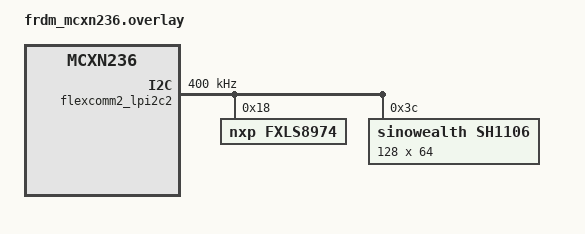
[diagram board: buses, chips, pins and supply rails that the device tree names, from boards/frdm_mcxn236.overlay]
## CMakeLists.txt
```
cmake_minimum_required(VERSION 3.20.0)

# Pull in the Zephyr build system
find_package(Zephyr REQUIRED HINTS $ENV{ZEPHYR_BASE})

project(oled_crosshair_accel)

# Export compile commands for clangd (Neovim)
set(CMAKE_EXPORT_COMPILE_COMMANDS ON)

target_sources(app PRIVATE src/main.c src/display_hal.c)
```

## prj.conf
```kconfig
# printk() enable for console output
# CONFIG_PRINTK=y

# Enable Logging 
CONFIG_LOG=y
CONFIG_LOG_DEFAULT_LEVEL=3

# Enable GPIOS
# CONFIG_GPIO=y

# Stack size
CONFIG_MAIN_STACK_SIZE=4096

# I2C and Display stuff 
CONFIG_I2C=y
CONFIG_DISPLAY=y
CONFIG_SSD1306=y
CONFIG_CHARACTER_FRAMEBUFFER=y
CONFIG_HEAP_MEM_POOL_SIZE=16384

# Sensor and IMU stuff
CONFIG_SENSOR=y
CONFIG_FXLS8974=y
CONFIG_CBPRINTF_FP_SUPPORT=y
```

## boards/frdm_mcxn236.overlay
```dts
/ {
    aliases {
        accel0 = &fxls8974;
    };
};

&flexcomm2_lpi2c2 {
  status = "okay";

  clock-frequency = <I2C_BITRATE_FAST>;

  fxls8974: fxls8974@18 {
    compatible = "nxp,fxls8974";
    reg = <0x18>;
    status = "okay";
  };

  sh1106: sh1106@3c {
    compatible = "sinowealth,sh1106";
    reg = <0x3c>;
    width = <128>;
    height = <64>;
    segment-offset = <2>;
    display-offset = <0>;
    page-offset = <0>;
    multiplex-ratio = <63>;
    segment-remap;
    com-invdir;
    prechargep = <0x22>;
  };
};
```

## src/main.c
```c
#include <zephyr/kernel.h>
#include <zephyr/device.h>
#include <zephyr/drivers/sensor.h>
#include <zephyr/logging/log.h>
#include "display_hal.h"

LOG_MODULE_REGISTER(display_main, LOG_LEVEL_INF);

int main(void)
{
  LOG_INF("Starting IMU bubble Level");

  if (display_hal_init() != 0) {
    LOG_ERR("Display init failed");
    return -1;
  }

  const struct device *const accel_dev = DEVICE_DT_GET(DT_ALIAS(accel0));

  if (!device_is_ready(accel_dev)) {
    LOG_ERR("Device is not ready");
    return -1;
  }

  while (1) {
    struct sensor_value accel[3];

    if (sensor_sample_fetch(accel_dev) < 0) {
      LOG_ERR("Failed to fetch IMU data");
      k_msleep(1000);
      continue;
    }

    sensor_channel_get(accel_dev, SENSOR_CHAN_ACCEL_XYZ, accel);

    double ax = sensor_value_to_double(&accel[0]);
    double ay = sensor_value_to_double(&accel[1]);

    /*
     * MAPPING MATH
     * Screen is 128x64. Center is (64, 32)
     * Max tilt is -9.8 m/s^2
     * X-Axis: 64 pixels from center to edge. (64 / 9.8 = ~6.5 multiplier)
     * Y-Axis: 32 pixels from center to edge. (32 / 9.8 = ~3.2 multiplier)
     * We invert the math (-) so the bubble moves "up"
    */  
    int bubble_x = 64 - (int)(ax * 6.5);
    int bubble_y = 32 + (int)(ay * 3.2);

    display_hal_clear();
    display_hal_draw_background();
    display_hal_draw_bubble(bubble_x, bubble_y);
    display_hal_finalize();

    k_msleep(50);
  }

  return 0;
}
```

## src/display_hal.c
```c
#include "display_hal.h"
#include <zephyr/device.h>
#include <zephyr/drivers/display.h>
#include <zephyr/display/cfb.h>
#include <zephyr/logging/log.h>

LOG_MODULE_REGISTER(display_hal, LOG_LEVEL_INF);

static const struct device *display_dev = DEVICE_DT_GET(DT_NODELABEL(sh1106));

int display_hal_init(void) {
  if (!device_is_ready(display_dev)) {
    LOG_ERR("Display is not ready");
    return -ENODEV;
  }

  if (display_set_pixel_format(display_dev, PIXEL_FORMAT_MONO10) != 0) {
    if (display_set_pixel_format(display_dev, PIXEL_FORMAT_MONO01) != 0) {
      LOG_ERR("Failed to set required pixel format");
      return -ENOTSUP;
    }
  }

  if (cfb_framebuffer_init(display_dev)) {
    LOG_ERR("Frame buffer initialization failed");
    return -EIO;
  }

  display_hal_clear();
  display_blanking_off(display_dev);

  /* Set a default fallback font upon initialization */
  cfb_framebuffer_set_font(display_dev, 0);

  return 0;
}


void display_hal_clear() {
  if (display_dev != NULL) {
    cfb_framebuffer_clear(display_dev, false);
  }
}

void display_hal_finalize() {
  if (display_dev != NULL) {
    cfb_framebuffer_finalize(display_dev);
  }
}

void display_hal_draw_background(void) {
  if (display_dev == NULL) return;

  /* A thin vertical and horizontal line making a center cross */
  struct cfb_position v_start = {64, 28}, v_end = {64, 38};
  struct cfb_position h_start = {60, 32}, h_end = {68, 32};

  cfb_draw_line(display_dev, &v_start, &v_end);
  cfb_draw_line(display_dev, &h_start, &h_end);
}

/* Draws a rectangle which acts as a bubble */
void display_hal_draw_bubble(int x, int y) {
  if (display_dev == NULL) return;

  /* Prevent the box from drawing off the edge of the screen and crashing it */
  if (x < 2) x = 2;
  if (x > 125) x = 125;
  if (y < 2) y = 2;
  if (y > 61) x = 61;

  /* Top-Left and Bottom-right corners of the rectangle */
  struct cfb_position top_left = {x - 2, y - 2};
  struct cfb_position bottom_right = {x + 2, y + 2};

  cfb_draw_rect(display_dev, &top_left, &bottom_right);
}
```

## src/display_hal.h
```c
#ifndef DISPLAY_HAL_H
#define DISPLAY_HAL_H

#include <stdint.h>

/* Initialize the display and the framebuffer */
int display_hal_init(void);

/* Clears the display, writes text at (x, y) and pushes the frame */
void display_hal_clear(void);

void display_hal_finalize(void);

void display_hal_draw_background(void);
void display_hal_draw_bubble(int x, int y);

#endif // !DISPLAY_HAL_H
```
